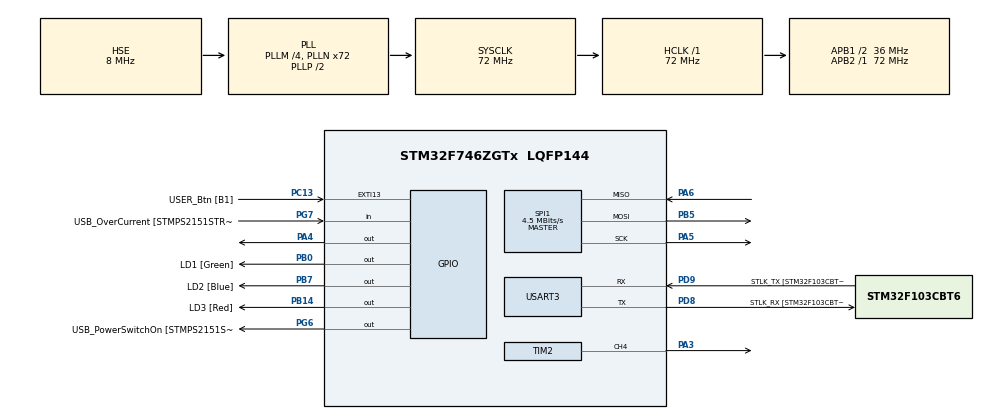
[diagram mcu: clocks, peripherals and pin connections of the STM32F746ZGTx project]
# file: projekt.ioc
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Mcu.Family=STM32F7
Mcu.Name=STM32F746ZGTx
Mcu.Package=LQFP144
NVIC.PriorityGroup=NVIC_PRIORITYGROUP_4
NVIC.TIM3_IRQn=true\:0\:0\:false\:false\:true\:true\:true\:true
NVIC.USART3_IRQn=true\:0\:0\:false\:false\:true\:true\:true\:true
PA1.GPIO_Label=RMII_REF_CLK [LAN8742A-CZ-TR_REFCLK0]
PA1.Signal=ETH_REF_CLK
PA10.GPIO_Label=USB_ID
PA10.Signal=USB_OTG_FS_ID
PA11.GPIO_Label=USB_DM
PA11.Signal=USB_OTG_FS_DM
PA12.GPIO_Label=USB_DP
PA12.Signal=USB_OTG_FS_DP
PA13.GPIO_Label=TMS
PA13.Mode=Serial_Wire
PA13.Signal=SYS_JTMS-SWDIO
PA14.GPIO_Label=TCK
PA14.Mode=Serial_Wire
PA14.Signal=SYS_JTCK-SWCLK
PA2.GPIO_Label=RMII_MDIO [LAN8742A-CZ-TR_MDIO]
PA2.Signal=ETH_MDIO
PA3.Signal=S_TIM2_CH4
PA4.GPIO_PuPd=GPIO_NOPULL
PA4.Signal=GPIO_Output
PA5.Mode=Full_Duplex_Master
PA5.Signal=SPI1_SCK
PA6.Mode=Full_Duplex_Master
PA6.Signal=SPI1_MISO
PA7.GPIO_Label=RMII_CRS_DV [LAN8742A-CZ-TR_CRS_DV]
PA7.Signal=ETH_CRS_DV
PA8.GPIO_Label=USB_SOF [TP1]
PA8.Signal=USB_OTG_FS_SOF
PA9.GPIO_Label=USB_VBUS
PA9.Signal=USB_OTG_FS_VBUS
PB0.GPIO_Label=LD1 [Green]
PB0.Signal=GPIO_Output
PB13.GPIO_Label=RMII_TXD1 [LAN8742A-CZ-TR_TXD1]
PB13.Signal=ETH_TXD1
PB14.GPIO_Label=LD3 [Red]
PB14.Signal=GPIO_Output
PB3.GPIO_Label=SW0
PB3.Signal=SYS_JTDO-SWO
PB5.Mode=Full_Duplex_Master
PB5.Signal=SPI1_MOSI
PB7.GPIO_Label=LD2 [Blue]
PB7.Signal=GPIO_Output
PC1.GPIO_Label=RMII_MDC [LAN8742A-CZ-TR_MDC]
PC1.Signal=ETH_MDC
PC13.GPIO_Label=USER_Btn [B1]
PC13.Signal=GPXTI13
PC14/OSC32_IN.Mode=LSE-External-Oscillator
PC14/OSC32_IN.Signal=RCC_OSC32_IN
PC15/OSC32_OUT.Mode=LSE-External-Oscillator
PC15/OSC32_OUT.Signal=RCC_OSC32_OUT
PC4.GPIO_Label=RMII_RXD0 [LAN8742A-CZ-TR_RXD0]
PC4.Signal=ETH_RXD0
PC5.GPIO_Label=RMII_RXD1 [LAN8742A-CZ-TR_RXD1]
PC5.Signal=ETH_RXD1
PD8.GPIO_Label=STLK_RX [STM32F103CBT6_PA3]
PD8.Mode=Asynchronous
PD8.Signal=USART3_TX
PD9.GPIO_Label=STLK_TX [STM32F103CBT6_PA2]
PD9.Mode=Asynchronous
PD9.Signal=USART3_RX
PG11.GPIO_Label=RMII_TX_EN [LAN8742A-CZ-TR_TXEN]
PG11.Signal=ETH_TX_EN
PG13.GPIO_Label=RMII_TXD0 [LAN8742A-CZ-TR_TXD0]
PG13.Signal=ETH_TXD0
PG6.GPIO_Label=USB_PowerSwitchOn [STMPS2151STR_EN]
PG6.Signal=GPIO_Output
PG7.GPIO_Label=USB_OverCurrent [STMPS2151STR_FAULT]
PG7.Signal=GPIO_Input
PH0/OSC_IN.GPIO_Label=MCO [STM32F103CBT6_PA8]
PH0/OSC_IN.Mode=HSE-External-Clock-Source
PH0/OSC_IN.Signal=RCC_OSC_IN
PH1/OSC_OUT.Mode=HSE-External-Clock-Source
PH1/OSC_OUT.Signal=RCC_OSC_OUT
ProjectManager.HeapSize=0x200
ProjectManager.StackSize=0x400
ProjectManager.TargetToolchain=STM32CubeIDE
RCC.48MHZClocksFreq_Value=24000000
RCC.AHBFreq_Value=72000000
RCC.APB1CLKDivider=RCC_HCLK_DIV2
RCC.APB1Freq_Value=36000000
RCC.APB1TimFreq_Value=72000000
RCC.APB2Freq_Value=72000000
RCC.APB2TimFreq_Value=72000000
RCC.CortexFreq_Value=72000000
RCC.HCLKFreq_Value=72000000
RCC.HSE_VALUE=8000000
RCC.HSI_VALUE=16000000
RCC.PLLM=4
RCC.PLLMUL=RCC_PLL_MUL9
RCC.PLLN=72
RCC.PLLQ=3
RCC.PLLSourceVirtual=RCC_PLLSOURCE_HSE
RCC.PRESCALERUSB=RCC_USBCLKSOURCE_PLL_DIV1_5
RCC.SYSCLKFreq_VALUE=72000000
RCC.SYSCLKSource=RCC_SYSCLKSOURCE_PLLCLK
RCC.SYSCLKSourceVirtual=RCC_SYSCLKSOURCE_PLLCLK
RCC.USBFreq_Value=48000000
RCC.VCOOutputFreq_Value=144000000
SH.S_TIM2_CH4.0=TIM2_CH4,PWM Generation4 CH4
SPI1.BaudRatePrescaler=SPI_BAUDRATEPRESCALER_16
SPI1.CalculateBaudRate=4.5 MBits/s
SPI1.DataSize=SPI_DATASIZE_8BIT
SPI1.Direction=SPI_DIRECTION_2LINES
SPI1.Mode=SPI_MODE_MASTER
SPI1.VirtualType=VM_MASTER
TIM2.AutoReloadPreload=TIM_AUTORELOAD_PRELOAD_ENABLE
TIM2.Channel-PWM\ Generation4\ CH4=TIM_CHANNEL_4
TIM2.OCPolarity_4=TIM_OCPOLARITY_HIGH
TIM2.Period=999
TIM2.Prescaler=71
TIM2.Pulse-PWM\ Generation4\ CH4=0
TIM3.Period=50000-1
TIM3.Prescaler=1440-1
USART3.VirtualMode-Asynchronous=VM_ASYNC
VP_TIM2_VS_ClockSourceINT.Mode=Internal
VP_TIM3_VS_ClockSourceINT.Mode=Internal
board=NUCLEO-F746ZG

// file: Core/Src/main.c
/* USER CODE BEGIN Header */
/**
  ******************************************************************************
  * @file           : main.c
  * @brief          : Main program body
  ******************************************************************************
  * @attention
  *
  * Copyright (c) 2023 STMicroelectronics.
  * All rights reserved.
  *
  * This software is licensed under terms that can be found in the LICENSE file
  * in the root directory of this software component.
  * If no LICENSE file comes with this software, it is provided AS-IS.
  *
  ******************************************************************************
  */
/* USER CODE END Header */
#include "main.h"

/* USER CODE BEGIN Includes */
#include "BMPXX80.h"
#include <math.h>
/* USER CODE END Includes */

SPI_HandleTypeDef hspi1;

TIM_HandleTypeDef htim2;
TIM_HandleTypeDef htim3;

UART_HandleTypeDef huart3;

/* USER CODE BEGIN PV */
float temp_reading;
int32_t pressure;
uint8_t buffer[128];
uint8_t rx_buffer[16];

const float Tp = 1.0f;
const float u_sat = 1.f; // wypelnienie <0;1>
const uint32_t max_tim_pulse = 999;

float Kp;
float Ti;
float u_ref; // stopnie Celciusza
/* USER CODE END PV */

void SystemClock_Config(void);
static void MX_GPIO_Init(void);
static void MX_USART3_UART_Init(void);
static void MX_SPI1_Init(void);
static void MX_TIM3_Init(void);
static void MX_TIM2_Init(void);
/* USER CODE BEGIN PFP */
uint32_t map(float x, float in_min, float in_max, uint32_t out_min, uint32_t out_max) {
  return (x - in_min) * (out_max - out_min) / (in_max - in_min) + out_min;
}

void init_params() {
	Kp = 1.823f;
	Ti = 35.9047f;
	u_ref = 25.f;
}
/* USER CODE END PFP */

int main(void)
{

  /* MCU Configuration--------------------------------------------------------*/

  /* Reset of all peripherals, Initializes the Flash interface and the Systick. */
  HAL_Init();

  /* Configure the system clock */
  SystemClock_Config();

  /* Initialize all configured peripherals */
  MX_GPIO_Init();
  MX_USART3_UART_Init();
  MX_SPI1_Init();
  MX_TIM3_Init();
  MX_TIM2_Init();
  /* USER CODE BEGIN 2 */
  init_params();
  HAL_UART_Receive_IT(&huart3, rx_buffer, sizeof(rx_buffer));
  BMP280_Init(&hspi1, BMP280_TEMPERATURE_16BIT, BMP280_STANDARD, BMP280_FORCEDMODE);
  HAL_TIM_Base_Start_IT(&htim3);
  HAL_TIM_PWM_Start(&htim2, TIM_CHANNEL_4);
  /* USER CODE END 2 */

  /* Infinite loop */
  /* USER CODE BEGIN WHILE */
  while (1)
  {
	HAL_Delay(1);
    /* USER CODE END WHILE */

  }
}

void SystemClock_Config(void)
{
  RCC_OscInitTypeDef RCC_OscInitStruct = {0};
  RCC_ClkInitTypeDef RCC_ClkInitStruct = {0};

  /** Configure LSE Drive Capability
  */
  HAL_PWR_EnableBkUpAccess();

  /** Configure the main internal regulator output voltage
  */
  __HAL_RCC_PWR_CLK_ENABLE();
  __HAL_PWR_VOLTAGESCALING_CONFIG(PWR_REGULATOR_VOLTAGE_SCALE3);

  /** Initializes the RCC Oscillators according to the specified parameters
  * in the RCC_OscInitTypeDef structure.
  */
  RCC_OscInitStruct.OscillatorType = RCC_OSCILLATORTYPE_HSE;
  RCC_OscInitStruct.HSEState = RCC_HSE_BYPASS;
  RCC_OscInitStruct.PLL.PLLState = RCC_PLL_ON;
  RCC_OscInitStruct.PLL.PLLSource = RCC_PLLSOURCE_HSE;
  RCC_OscInitStruct.PLL.PLLM = 4;
  RCC_OscInitStruct.PLL.PLLN = 72;
  RCC_OscInitStruct.PLL.PLLP = RCC_PLLP_DIV2;
  RCC_OscInitStruct.PLL.PLLQ = 3;
  if (HAL_RCC_OscConfig(&RCC_OscInitStruct) != HAL_OK)
  {
    Error_Handler();
  }

  /** Initializes the CPU, AHB and APB buses clocks
  */
  RCC_ClkInitStruct.ClockType = RCC_CLOCKTYPE_HCLK|RCC_CLOCKTYPE_SYSCLK
                              |RCC_CLOCKTYPE_PCLK1|RCC_CLOCKTYPE_PCLK2;
  RCC_ClkInitStruct.SYSCLKSource = RCC_SYSCLKSOURCE_PLLCLK;
  RCC_ClkInitStruct.AHBCLKDivider = RCC_SYSCLK_DIV1;
  RCC_ClkInitStruct.APB1CLKDivider = RCC_HCLK_DIV2;
  RCC_ClkInitStruct.APB2CLKDivider = RCC_HCLK_DIV1;

  if (HAL_RCC_ClockConfig(&RCC_ClkInitStruct, FLASH_LATENCY_2) != HAL_OK)
  {
    Error_Handler();
  }
}

static void MX_SPI1_Init(void)
{

  /* SPI1 parameter configuration*/
  hspi1.Instance = SPI1;
  hspi1.Init.Mode = SPI_MODE_MASTER;
  hspi1.Init.Direction = SPI_DIRECTION_2LINES;
  hspi1.Init.DataSize = SPI_DATASIZE_8BIT;
  hspi1.Init.CLKPolarity = SPI_POLARITY_LOW;
  hspi1.Init.CLKPhase = SPI_PHASE_1EDGE;
  hspi1.Init.NSS = SPI_NSS_SOFT;
  hspi1.Init.BaudRatePrescaler = SPI_BAUDRATEPRESCALER_16;
  hspi1.Init.FirstBit = SPI_FIRSTBIT_MSB;
  hspi1.Init.TIMode = SPI_TIMODE_DISABLE;
  hspi1.Init.CRCCalculation = SPI_CRCCALCULATION_DISABLE;
  hspi1.Init.CRCPolynomial = 7;
  hspi1.Init.CRCLength = SPI_CRC_LENGTH_DATASIZE;
  hspi1.Init.NSSPMode = SPI_NSS_PULSE_ENABLE;
  if (HAL_SPI_Init(&hspi1) != HAL_OK)
  {
    Error_Handler();
  }

}

static void MX_TIM2_Init(void)
{

  TIM_ClockConfigTypeDef sClockSourceConfig = {0};
  TIM_MasterConfigTypeDef sMasterConfig = {0};
  TIM_OC_InitTypeDef sConfigOC = {0};

  htim2.Instance = TIM2;
  htim2.Init.Prescaler = 71;
  htim2.Init.CounterMode = TIM_COUNTERMODE_UP;
  htim2.Init.Period = 999;
  htim2.Init.ClockDivision = TIM_CLOCKDIVISION_DIV1;
  htim2.Init.AutoReloadPreload = TIM_AUTORELOAD_PRELOAD_ENABLE;
  if (HAL_TIM_Base_Init(&htim2) != HAL_OK)
  {
    Error_Handler();
  }
  sClockSourceConfig.ClockSource = TIM_CLOCKSOURCE_INTERNAL;
  if (HAL_TIM_ConfigClockSource(&htim2, &sClockSourceConfig) != HAL_OK)
  {
    Error_Handler();
  }
  if (HAL_TIM_PWM_Init(&htim2) != HAL_OK)
  {
    Error_Handler();
  }
  sMasterConfig.MasterOutputTrigger = TIM_TRGO_RESET;
  sMasterConfig.MasterSlaveMode = TIM_MASTERSLAVEMODE_DISABLE;
  if (HAL_TIMEx_MasterConfigSynchronization(&htim2, &sMasterConfig) != HAL_OK)
  {
    Error_Handler();
  }
  sConfigOC.OCMode = TIM_OCMODE_PWM1;
  sConfigOC.Pulse = 0;
  sConfigOC.OCPolarity = TIM_OCPOLARITY_HIGH;
  sConfigOC.OCFastMode = TIM_OCFAST_DISABLE;
  if (HAL_TIM_PWM_ConfigChannel(&htim2, &sConfigOC, TIM_CHANNEL_4) != HAL_OK)
  {
    Error_Handler();
  }
  HAL_TIM_MspPostInit(&htim2);

}

static void MX_TIM3_Init(void)
{

  TIM_ClockConfigTypeDef sClockSourceConfig = {0};
  TIM_MasterConfigTypeDef sMasterConfig = {0};

  htim3.Instance = TIM3;
  htim3.Init.Prescaler = 1440-1;
  htim3.Init.CounterMode = TIM_COUNTERMODE_UP;
  htim3.Init.Period = 50000-1;
  htim3.Init.ClockDivision = TIM_CLOCKDIVISION_DIV1;
  htim3.Init.AutoReloadPreload = TIM_AUTORELOAD_PRELOAD_DISABLE;
  if (HAL_TIM_Base_Init(&htim3) != HAL_OK)
  {
    Error_Handler();
  }
  sClockSourceConfig.ClockSource = TIM_CLOCKSOURCE_INTERNAL;
  if (HAL_TIM_ConfigClockSource(&htim3, &sClockSourceConfig) != HAL_OK)
  {
    Error_Handler();
  }
  sMasterConfig.MasterOutputTrigger = TIM_TRGO_RESET;
  sMasterConfig.MasterSlaveMode = TIM_MASTERSLAVEMODE_DISABLE;
  if (HAL_TIMEx_MasterConfigSynchronization(&htim3, &sMasterConfig) != HAL_OK)
  {
    Error_Handler();
  }

}

static void MX_USART3_UART_Init(void)
{

  huart3.Instance = USART3;
  huart3.Init.BaudRate = 115200;
  huart3.Init.WordLength = UART_WORDLENGTH_8B;
  huart3.Init.StopBits = UART_STOPBITS_1;
  huart3.Init.Parity = UART_PARITY_NONE;
  huart3.Init.Mode = UART_MODE_TX_RX;
  huart3.Init.HwFlowCtl = UART_HWCONTROL_NONE;
  huart3.Init.OverSampling = UART_OVERSAMPLING_16;
  huart3.Init.OneBitSampling = UART_ONE_BIT_SAMPLE_DISABLE;
  huart3.AdvancedInit.AdvFeatureInit = UART_ADVFEATURE_NO_INIT;
  if (HAL_UART_Init(&huart3) != HAL_OK)
  {
    Error_Handler();
  }

}

static void MX_GPIO_Init(void)
{
  GPIO_InitTypeDef GPIO_InitStruct = {0};

  /* GPIO Ports Clock Enable */
  __HAL_RCC_GPIOC_CLK_ENABLE();
  __HAL_RCC_GPIOH_CLK_ENABLE();
  __HAL_RCC_GPIOA_CLK_ENABLE();
  __HAL_RCC_GPIOB_CLK_ENABLE();
  __HAL_RCC_GPIOD_CLK_ENABLE();
  __HAL_RCC_GPIOG_CLK_ENABLE();

  /*Configure GPIO pin Output Level */
  HAL_GPIO_WritePin(GPIOA, GPIO_PIN_4, GPIO_PIN_RESET);

  /*Configure GPIO pin Output Level */
  HAL_GPIO_WritePin(GPIOB, LD1_Pin|LD3_Pin|LD2_Pin, GPIO_PIN_RESET);

  /*Configure GPIO pin Output Level */
  HAL_GPIO_WritePin(USB_PowerSwitchOn_GPIO_Port, USB_PowerSwitchOn_Pin, GPIO_PIN_RESET);

  /*Configure GPIO pin : USER_Btn_Pin */
  GPIO_InitStruct.Pin = USER_Btn_Pin;
  GPIO_InitStruct.Mode = GPIO_MODE_IT_RISING;
  GPIO_InitStruct.Pull = GPIO_NOPULL;
  HAL_GPIO_Init(USER_Btn_GPIO_Port, &GPIO_InitStruct);

  /*Configure GPIO pins : RMII_MDC_Pin RMII_RXD0_Pin RMII_RXD1_Pin */
  GPIO_InitStruct.Pin = RMII_MDC_Pin|RMII_RXD0_Pin|RMII_RXD1_Pin;
  GPIO_InitStruct.Mode = GPIO_MODE_AF_PP;
  GPIO_InitStruct.Pull = GPIO_NOPULL;
  GPIO_InitStruct.Speed = GPIO_SPEED_FREQ_VERY_HIGH;
  GPIO_InitStruct.Alternate = GPIO_AF11_ETH;
  HAL_GPIO_Init(GPIOC, &GPIO_InitStruct);

  /*Configure GPIO pins : RMII_REF_CLK_Pin RMII_MDIO_Pin RMII_CRS_DV_Pin */
  GPIO_InitStruct.Pin = RMII_REF_CLK_Pin|RMII_MDIO_Pin|RMII_CRS_DV_Pin;
  GPIO_InitStruct.Mode = GPIO_MODE_AF_PP;
  GPIO_InitStruct.Pull = GPIO_NOPULL;
  GPIO_InitStruct.Speed = GPIO_SPEED_FREQ_VERY_HIGH;
  GPIO_InitStruct.Alternate = GPIO_AF11_ETH;
  HAL_GPIO_Init(GPIOA, &GPIO_InitStruct);

  /*Configure GPIO pin : PA4 */
  GPIO_InitStruct.Pin = GPIO_PIN_4;
  GPIO_InitStruct.Mode = GPIO_MODE_OUTPUT_PP;
  GPIO_InitStruct.Pull = GPIO_NOPULL;
  GPIO_InitStruct.Speed = GPIO_SPEED_FREQ_LOW;
  HAL_GPIO_Init(GPIOA, &GPIO_InitStruct);

  /*Configure GPIO pins : LD1_Pin LD3_Pin LD2_Pin */
  GPIO_InitStruct.Pin = LD1_Pin|LD3_Pin|LD2_Pin;
  GPIO_InitStruct.Mode = GPIO_MODE_OUTPUT_PP;
  GPIO_InitStruct.Pull = GPIO_NOPULL;
  GPIO_InitStruct.Speed = GPIO_SPEED_FREQ_LOW;
  HAL_GPIO_Init(GPIOB, &GPIO_InitStruct);

  /*Configure GPIO pin : RMII_TXD1_Pin */
  GPIO_InitStruct.Pin = RMII_TXD1_Pin;
  GPIO_InitStruct.Mode = GPIO_MODE_AF_PP;
  GPIO_InitStruct.Pull = GPIO_NOPULL;
  GPIO_InitStruct.Speed = GPIO_SPEED_FREQ_VERY_HIGH;
  GPIO_InitStruct.Alternate = GPIO_AF11_ETH;
  HAL_GPIO_Init(RMII_TXD1_GPIO_Port, &GPIO_InitStruct);

  /*Configure GPIO pin : USB_PowerSwitchOn_Pin */
  GPIO_InitStruct.Pin = USB_PowerSwitchOn_Pin;
  GPIO_InitStruct.Mode = GPIO_MODE_OUTPUT_PP;
  GPIO_InitStruct.Pull = GPIO_NOPULL;
  GPIO_InitStruct.Speed = GPIO_SPEED_FREQ_LOW;
  HAL_GPIO_Init(USB_PowerSwitchOn_GPIO_Port, &GPIO_InitStruct);

  /*Configure GPIO pin : USB_OverCurrent_Pin */
  GPIO_InitStruct.Pin = USB_OverCurrent_Pin;
  GPIO_InitStruct.Mode = GPIO_MODE_INPUT;
  GPIO_InitStruct.Pull = GPIO_NOPULL;
  HAL_GPIO_Init(USB_OverCurrent_GPIO_Port, &GPIO_InitStruct);

  /*Configure GPIO pins : USB_SOF_Pin USB_ID_Pin USB_DM_Pin USB_DP_Pin */
  GPIO_InitStruct.Pin = USB_SOF_Pin|USB_ID_Pin|USB_DM_Pin|USB_DP_Pin;
  GPIO_InitStruct.Mode = GPIO_MODE_AF_PP;
  GPIO_InitStruct.Pull = GPIO_NOPULL;
  GPIO_InitStruct.Speed = GPIO_SPEED_FREQ_VERY_HIGH;
  GPIO_InitStruct.Alternate = GPIO_AF10_OTG_FS;
  HAL_GPIO_Init(GPIOA, &GPIO_InitStruct);

  /*Configure GPIO pin : USB_VBUS_Pin */
  GPIO_InitStruct.Pin = USB_VBUS_Pin;
  GPIO_InitStruct.Mode = GPIO_MODE_INPUT;
  GPIO_InitStruct.Pull = GPIO_NOPULL;
  HAL_GPIO_Init(USB_VBUS_GPIO_Port, &GPIO_InitStruct);

  /*Configure GPIO pins : RMII_TX_EN_Pin RMII_TXD0_Pin */
  GPIO_InitStruct.Pin = RMII_TX_EN_Pin|RMII_TXD0_Pin;
  GPIO_InitStruct.Mode = GPIO_MODE_AF_PP;
  GPIO_InitStruct.Pull = GPIO_NOPULL;
  GPIO_InitStruct.Speed = GPIO_SPEED_FREQ_VERY_HIGH;
  GPIO_InitStruct.Alternate = GPIO_AF11_ETH;
  HAL_GPIO_Init(GPIOG, &GPIO_InitStruct);

}

/* USER CODE BEGIN 4 */
void HAL_UART_RxCpltCallback(UART_HandleTypeDef *huart) {
	if(huart->Instance == USART3) {
		sscanf(rx_buffer, "{\"Uref\":%f}", &u_ref);
		memset(rx_buffer, 0, sizeof(rx_buffer));

		HAL_UART_Receive_IT(&huart3, rx_buffer, sizeof(rx_buffer));
	}
}

void HAL_TIM_PeriodElapsedCallback(TIM_HandleTypeDef* htim) {
	if(htim->Instance == TIM3) {
		// poprzednie wartosci
		static float et_prev = 0.f;
		static float ut_prev = 0.f;

		// pomiar aktualnej wartosci
		BMP280_ReadTemperatureAndPressure(&temp_reading, &pressure);

		// obl wartosci sterowania
		float et = u_ref - temp_reading;
		float ut = ut_prev + Kp*(1+Tp/Ti)*et-Kp*et_prev;

		// ograniczenie sterowania
		ut = fmax(fmin(ut, u_sat), 0.f);

		// przeliczenie wypelnienia na pulsy
		uint32_t tim_pulse = map(ut, 0.f, u_sat, 0u, max_tim_pulse);
		__HAL_TIM_SET_COMPARE(&htim2, TIM_CHANNEL_4, tim_pulse);

		// zapisanie aktualnej wartosci uchybu i sterowania
		et_prev = et;
		ut_prev = ut;

		// odeslanie wartosc po uart
		int len = snprintf(buffer, sizeof(buffer)-1, "{\"Temp\":%.2f, \"Uref\":%.2f}\r\n", temp_reading, u_ref);
		HAL_UART_Transmit(&huart3, buffer, len, HAL_MAX_DELAY);
	}
}

/* USER CODE END 4 */

void Error_Handler(void)
{
  __disable_irq();
  while (1)
  {
  }
}
